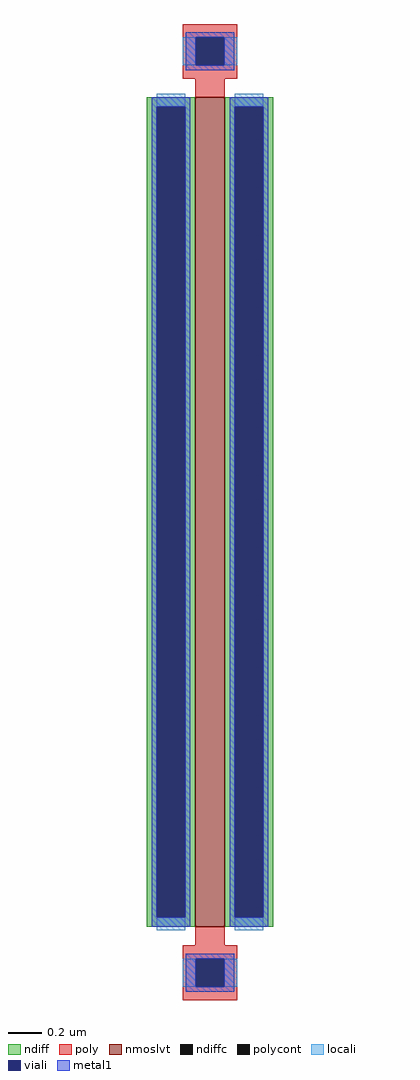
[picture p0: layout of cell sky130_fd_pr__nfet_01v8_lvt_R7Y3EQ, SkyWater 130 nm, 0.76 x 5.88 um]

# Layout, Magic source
magic
tech sky130A
magscale 1 2
<< nmoslvt >>
rect -18 -500 18 500
<< ndiff >>
rect -76 488 -18 500
rect -76 -488 -64 488
rect -30 -488 -18 488
rect -76 -500 -18 -488
rect 18 488 76 500
rect 18 -488 30 488
rect 64 -488 76 488
rect 18 -500 76 -488
<< ndiffc >>
rect -64 -488 -30 488
rect 30 -488 64 488
<< poly >>
rect -33 572 33 588
rect -33 538 -17 572
rect 17 538 33 572
rect -33 522 33 538
rect -18 500 18 522
rect -18 -522 18 -500
rect -33 -538 33 -522
rect -33 -572 -17 -538
rect 17 -572 33 -538
rect -33 -588 33 -572
<< polycont >>
rect -17 538 17 572
rect -17 -572 17 -538
<< locali >>
rect -33 538 -17 572
rect 17 538 33 572
rect -64 488 -30 504
rect -64 -504 -30 -488
rect 30 488 64 504
rect 30 -504 64 -488
rect -33 -572 -17 -538
rect 17 -572 33 -538
<< viali >>
rect -17 538 17 572
rect -64 -488 -30 488
rect 30 -488 64 488
rect -17 -572 17 -538
<< metal1 >>
rect -29 572 29 578
rect -29 538 -17 572
rect 17 538 29 572
rect -29 532 29 538
rect -70 488 -24 500
rect -70 -488 -64 488
rect -30 -488 -24 488
rect -70 -500 -24 -488
rect 24 488 70 500
rect 24 -488 30 488
rect 64 -488 70 488
rect 24 -500 70 -488
rect -29 -538 29 -532
rect -29 -572 -17 -538
rect 17 -572 29 -538
rect -29 -578 29 -572
<< properties >>
string gencell sky130_fd_pr__nfet_01v8_lvt
string library sky130
string parameters w 5.0 l 0.18 m 1 nf 1 diffcov 100 polycov 100 guard 0 glc 1 grc 1 gtc 1 gbc 1 tbcov 100 rlcov 100 topc 1 botc 1 poverlap 0 doverlap 1 lmin 0.15 wmin 0.42 compatible {sky130_fd_pr__nfet_01v8 sky130_fd_pr__nfet_01v8_lvt  sky130_fd_bs_flash__special_sonosfet_star  sky130_fd_pr__nfet_g5v0d10v5 sky130_fd_pr__nfet_05v0_nvt  sky130_fd_pr__nfet_03v3_nvt} full_metal 0 viasrc 100 viadrn 100 viagate 100 viagb 0 viagr 0 viagl 0 viagt 0
<< end >>
